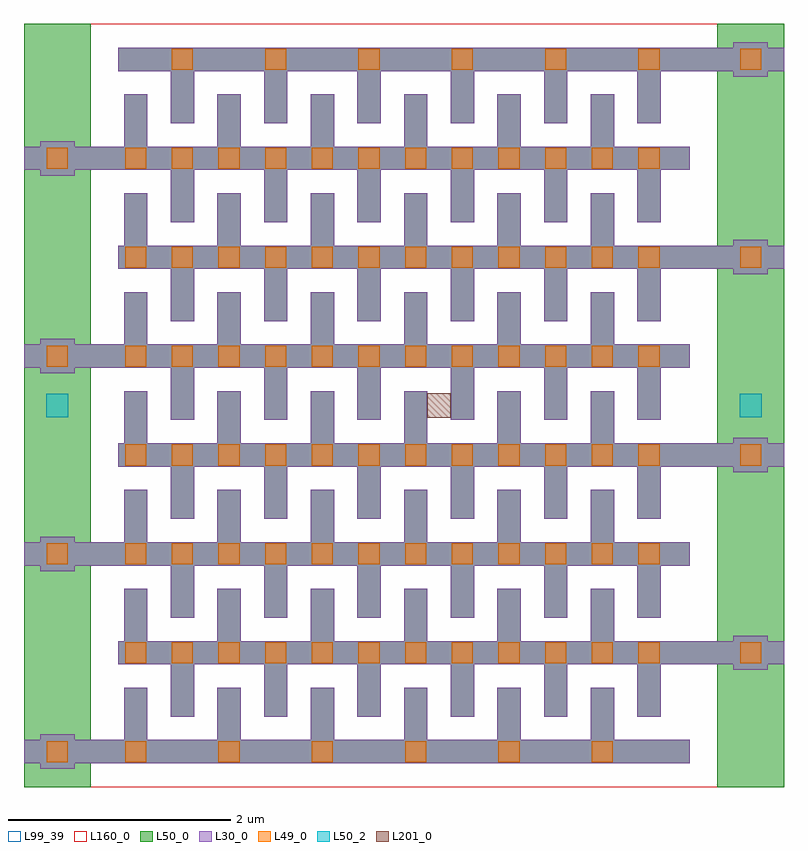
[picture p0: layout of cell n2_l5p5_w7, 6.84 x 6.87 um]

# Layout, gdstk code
import gdstk
lib = gdstk.Library(unit=1e-6, precision=1e-09)
def R(c, l, rs):  # rectangles x0, y0, x1, y1
    for r in rs: c.add(gdstk.rectangle(r[:2], r[2:], *l))
def A(c, l, x, y, w, h, nx, ny, dx, dy):  # array of equal rectangles
    R(c, l, [(x+i*dx, y+j*dy, x+i*dx+w, y+j*dy+h) for i in range(nx) for j in range(ny)])
L30_0 = (30, 0)
L49_0 = (49, 0)
L50_0 = (50, 0)
L50_2 = (50, 2)
L99_39 = (99, 39)
L160_0 = (160, 0)
L201_0 = (201, 0)

n2_l5p5_w7 = lib.new_cell('n2_l5p5_w7')
A(n2_l5p5_w7, L30_0, -0.755, -0.155, 0.31, 0.31, 1, 4, 0, 1.78)
A(n2_l5p5_w7, L30_0, -0.9, -0.105, 5.99, 0.21, 1, 4, 0, 1.78)
A(n2_l5p5_w7, L30_0, 0, 0, 0.21, 0.575, 6, 7, 0.84, 0.89)
A(n2_l5p5_w7, L30_0, 0.42, 0.315, 0.21, 0.575, 6, 7, 0.84, 0.89)
A(n2_l5p5_w7, L30_0, 5.485, 0.735, 0.31, 0.31, 1, 4, 0, 1.78)
A(n2_l5p5_w7, L30_0, -0.05, 0.785, 5.99, 0.21, 1, 4, 0, 1.78)
A(n2_l5p5_w7, L49_0, -0.695, -0.095, 0.19, 0.19, 1, 4, 0, 1.78)
A(n2_l5p5_w7, L49_0, 0.01, -0.095, 0.19, 0.19, 6, 1, 0.84, 0)
A(n2_l5p5_w7, L49_0, 0.01, 0.795, 0.19, 0.19, 12, 6, 0.42, 0.89)
A(n2_l5p5_w7, L49_0, 5.545, 0.795, 0.19, 0.19, 1, 4, 0, 1.78)
A(n2_l5p5_w7, L49_0, 0.43, 6.135, 0.19, 0.19, 6, 1, 0.84, 0)
A(n2_l5p5_w7, L50_0, -0.9, -0.105, 5.99, 0.21, 1, 4, 0, 1.78)
A(n2_l5p5_w7, L50_0, 0, 0, 0.21, 0.575, 6, 7, 0.84, 0.89)
A(n2_l5p5_w7, L50_0, 0.42, 0.315, 0.21, 0.575, 6, 7, 0.84, 0.89)
A(n2_l5p5_w7, L50_0, -0.05, 0.785, 5.99, 0.21, 1, 4, 0, 1.78)
R(n2_l5p5_w7, L50_0, [(-0.9,-0.32,-0.3,6.55), (5.34,-0.32,5.94,6.55)])
R(n2_l5p5_w7, L50_2, [(-0.7,3.01,-0.5,3.22), (5.54,3.01,5.74,3.22)])
R(n2_l5p5_w7, L99_39, [(-0.9,-0.32,5.94,6.55)])
R(n2_l5p5_w7, L160_0, [(-0.9,-0.32,5.94,6.55)])
R(n2_l5p5_w7, L201_0, [(2.73,3.005,2.94,3.225)])
n2_l5p5_w7.add(gdstk.Label('cap_cmomi C=14.802fF', (-0.9,-0.82), layer=63, texttype=0))

lib.write_gds('n2_l5p5_w7.gds')
